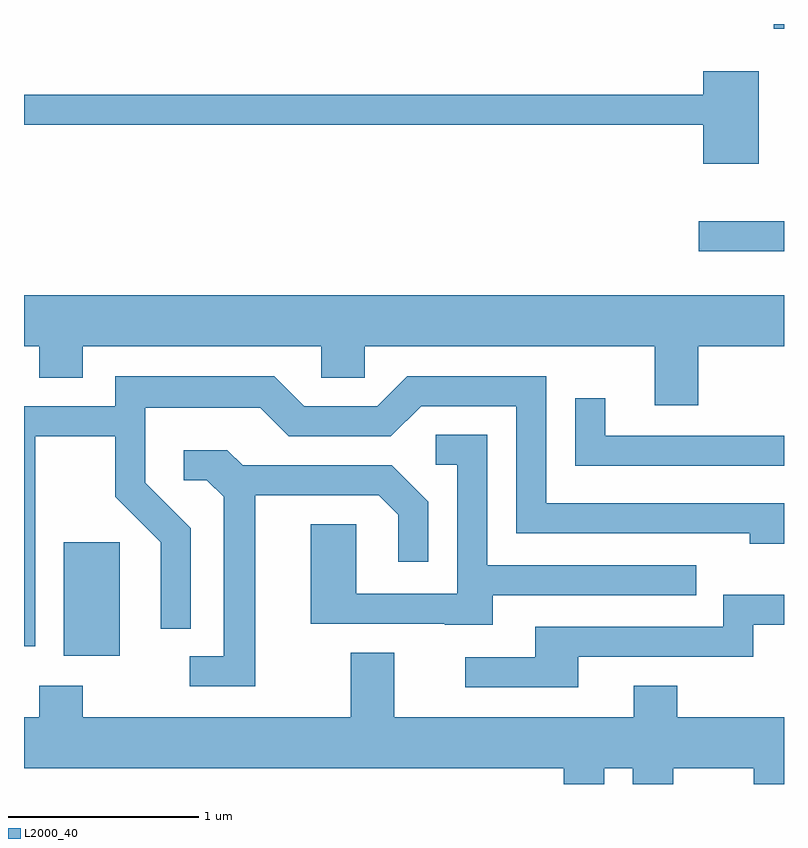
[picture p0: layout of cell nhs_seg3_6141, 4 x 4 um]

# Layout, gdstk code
import gdstk
lib = gdstk.Library(unit=1e-6, precision=1e-09)
def R(c, l, rs):  # rectangles x0, y0, x1, y1
    for r in rs: c.add(gdstk.rectangle(r[:2], r[2:], *l))
def P(c, l, *ps):  # polygons
    for p in ps: c.add(gdstk.Polygon(p, *l))
L2000_40 = (2000, 40)

nhs_seg3_6141 = lib.new_cell('nhs_seg3_6141')
R(nhs_seg3_6141, L2000_40, [(365.821,1166.566,366.114,1167.164), (369.163,1168.696,369.611,1168.854), (369.556,1169.866,369.611,1169.892)])
P(nhs_seg3_6141, L2000_40, [(369.479,1169.644),(369.186,1169.644),(369.186,1169.519),(365.611,1169.519),(365.611,1169.361),(369.186,1169.361),(369.186,1169.156),(369.479,1169.156)],
  [(369.159,1168.196),(369.611,1168.196),(369.611,1168.464),(365.611,1168.464),(365.611,1168.196),(365.691,1168.196),(365.691,1168.031),(365.919,1168.031),(365.919,1168.196),(367.176,1168.196),(367.176,1168.031),(367.404,1168.031),(367.404,1168.196),(368.931,1168.196),(368.931,1167.886),(369.159,1167.886)],
  [(365.669,1167.721),(366.091,1167.721),(366.091,1167.404),(366.331,1167.164),(366.331,1166.708),(366.489,1166.708),(366.489,1167.237),(366.249,1167.477),(366.249,1167.871),(366.854,1167.871),(367.004,1167.721),(367.542,1167.721),(367.702,1167.881),(368.201,1167.881),(368.201,1167.211),(369.431,1167.211),(369.431,1167.156),(369.611,1167.156),(369.611,1167.369),(368.359,1167.369),(368.359,1168.039),(367.629,1168.039),(367.469,1167.879),(367.087,1167.879),(366.927,1168.039),(366.091,1168.039),(366.091,1167.879),(365.611,1167.879),(365.611,1166.616),(365.669,1166.616)],
  [(369.611,1167.724),(368.669,1167.724),(368.669,1167.923),(368.511,1167.923),(368.511,1167.566),(369.611,1167.566)],
  [(368.079,1166.886),(369.148,1166.886),(369.148,1167.044),(368.049,1167.044),(368.049,1167.729),(367.778,1167.729),(367.778,1167.571),(367.891,1167.571),(367.891,1166.894),(367.359,1166.894),(367.359,1167.259),(367.121,1167.259),(367.121,1166.736),(367.825,1166.736),(367.825,1166.731),(368.079,1166.731)],
  [(366.829,1167.411),(367.479,1167.411),(367.581,1167.309),(367.581,1167.063),(367.739,1167.063),(367.739,1167.377),(367.547,1167.569),(366.762,1167.569),(366.682,1167.649),(366.453,1167.649),(366.453,1167.491),(366.574,1167.491),(366.661,1167.404),(366.661,1166.564),(366.483,1166.564),(366.483,1166.406),(366.829,1166.406)],
  [(368.529,1166.561),(369.449,1166.561),(369.449,1166.731),(369.611,1166.731),(369.611,1166.889),(369.291,1166.889),(369.291,1166.719),(368.301,1166.719),(368.301,1166.559),(367.933,1166.559),(367.933,1166.401),(368.529,1166.401)],
  [(368.664,1165.976),(368.816,1165.976),(368.816,1165.892),(369.029,1165.892),(369.029,1165.976),(369.451,1165.976),(369.451,1165.892),(369.611,1165.892),(369.611,1166.244),(369.049,1166.244),(369.049,1166.409),(368.821,1166.409),(368.821,1166.244),(367.559,1166.244),(367.559,1166.584),(367.331,1166.584),(367.331,1166.244),(365.919,1166.244),(365.919,1166.409),(365.691,1166.409),(365.691,1166.244),(365.611,1166.244),(365.611,1165.976),(368.451,1165.976),(368.451,1165.892),(368.664,1165.892)])

lib.write_gds('nhs_seg3_6141.gds')
